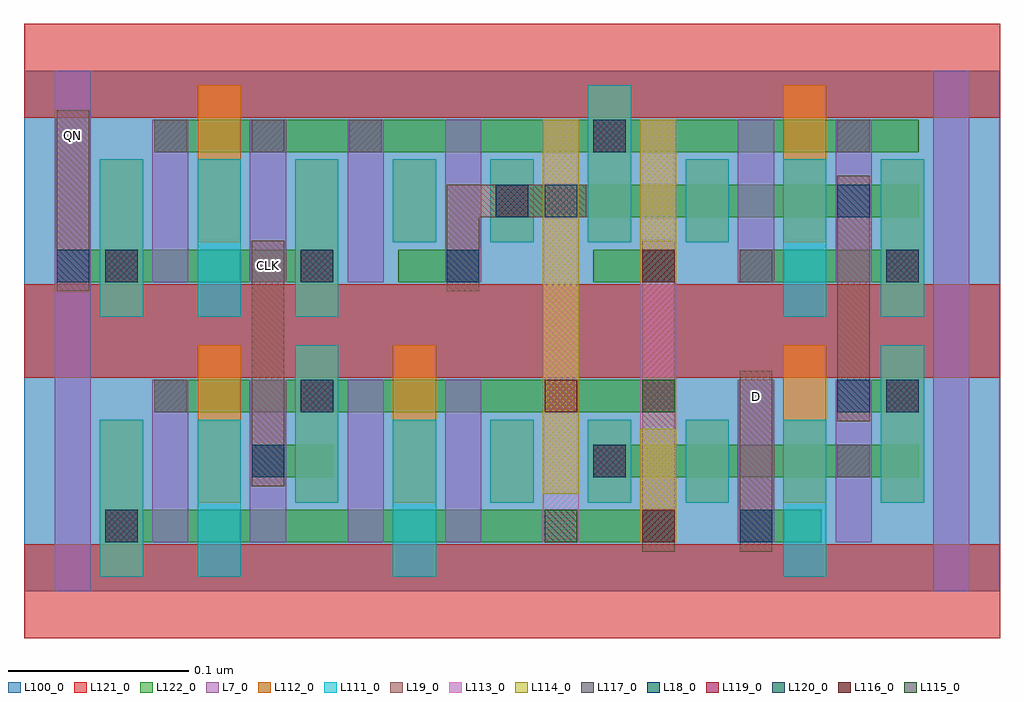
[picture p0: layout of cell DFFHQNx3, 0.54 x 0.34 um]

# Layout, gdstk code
import gdstk
lib = gdstk.Library(unit=1e-6, precision=2.5e-10)
def R(c, l, rs):  # rectangles x0, y0, x1, y1
    for r in rs: c.add(gdstk.rectangle(r[:2], r[2:], *l))
def A(c, l, x, y, w, h, nx, ny, dx, dy):  # array of equal rectangles
    R(c, l, [(x+i*dx, y+j*dy, x+i*dx+w, y+j*dy+h) for i in range(nx) for j in range(ny)])
def P(c, l, *ps):  # polygons
    for p in ps: c.add(gdstk.Polygon(p, *l))
L7_0 = (7, 0)
L18_0 = (18, 0)
L19_0 = (19, 0)
L100_0 = (100, 0)
L111_0 = (111, 0)
L112_0 = (112, 0)
L113_0 = (113, 0)
L114_0 = (114, 0)
L115_0 = (115, 0)
L116_0 = (116, 0)
L117_0 = (117, 0)
L119_0 = (119, 0)
L120_0 = (120, 0)
L121_0 = (121, 0)
L122_0 = (122, 0)

dffhqnx3 = lib.new_cell('DFFHQNx3')
A(dffhqnx3, L7_0, 0.071, 0.027, 0.02, 0.09, 4, 2, 0.054, 0.144)
R(dffhqnx3, L7_0, [(0.017,0,0.037,0.144), (0.503,0,0.523,0.144), (0.395,0.027,0.415,0.117), (0.449,0.027,0.469,0.117), (0.017,0.144,0.037,0.288), (0.503,0.144,0.523,0.288), (0.395,0.171,0.415,0.261), (0.449,0.171,0.469,0.261)])
R(dffhqnx3, L18_0, [(0.342,0.027,0.36,0.045), (0.396,0.027,0.414,0.045), (0.126,0.063,0.144,0.081), (0.45,0.099,0.468,0.117), (0.018,0.171,0.036,0.189), (0.234,0.171,0.252,0.189), (0.342,0.171,0.36,0.189), (0.288,0.207,0.306,0.225), (0.45,0.207,0.468,0.225)])
R(dffhqnx3, L19_0, [(0.342,0.022,0.36,0.194), (0.396,0.022,0.414,0.122), (0.126,0.058,0.144,0.194), (0.45,0.094,0.468,0.23), (0.018,0.166,0.036,0.266)])
P(dffhqnx3, L19_0, [(0.234,0.225),(0.311,0.225),(0.311,0.207),(0.252,0.207),(0.252,0.166),(0.234,0.166)])
R(dffhqnx3, L100_0, [(0,0,0.54,0.288)])
A(dffhqnx3, L111_0, 0.258, 0.049, 0.024, 0.046, 3, 1, 0.054, 0)
A(dffhqnx3, L111_0, 0.042, 0.152, 0.024, 0.087, 3, 1, 0.054, 0)
R(dffhqnx3, L111_0, [(0.042,0.008,0.066,0.095), (0.096,0.008,0.12,0.095), (0.204,0.008,0.228,0.095), (0.42,0.008,0.444,0.095), (0.15,0.049,0.174,0.136), (0.474,0.049,0.498,0.136), (0.42,0.152,0.444,0.239), (0.474,0.152,0.498,0.239), (0.204,0.193,0.228,0.239), (0.258,0.193,0.282,0.239), (0.312,0.193,0.336,0.28), (0.366,0.193,0.39,0.239)])
A(dffhqnx3, L112_0, 0.096, 0.049, 0.024, 0.087, 3, 1, 0.054, 0)
A(dffhqnx3, L112_0, 0.258, 0.049, 0.024, 0.046, 3, 1, 0.054, 0)
R(dffhqnx3, L112_0, [(0.042,0.008,0.066,0.095), (0.42,0.049,0.444,0.136), (0.474,0.049,0.498,0.136), (0.042,0.152,0.066,0.239), (0.15,0.152,0.174,0.239), (0.474,0.152,0.498,0.239), (0.096,0.193,0.12,0.28), (0.204,0.193,0.228,0.239), (0.258,0.193,0.282,0.239), (0.312,0.193,0.336,0.28), (0.366,0.193,0.39,0.239), (0.42,0.193,0.444,0.28)])
R(dffhqnx3, L113_0, [(0.287,0.027,0.307,0.144), (0.341,0.027,0.361,0.144), (0.287,0.144,0.307,0.261), (0.341,0.144,0.361,0.261)])
R(dffhqnx3, L114_0, [(0.341,0.027,0.361,0.09), (0.287,0.054,0.307,0.144), (0.287,0.144,0.307,0.261), (0.341,0.171,0.361,0.261)])
R(dffhqnx3, L115_0, [(0.288,0.027,0.306,0.045), (0.342,0.099,0.36,0.117)])
R(dffhqnx3, L116_0, [(0.342,0.027,0.36,0.045), (0.288,0.099,0.306,0.117), (0.342,0.171,0.36,0.189)])
A(dffhqnx3, L117_0, 0.072, 0.243, 0.018, 0.018, 3, 1, 0.054, 0)
R(dffhqnx3, L117_0, [(0.396,0.027,0.414,0.045), (0.126,0.063,0.144,0.081), (0.45,0.063,0.468,0.081), (0.072,0.099,0.09,0.117), (0.234,0.171,0.252,0.189), (0.396,0.171,0.414,0.189), (0.45,0.243,0.468,0.261)])
R(dffhqnx3, L119_0, [(0.045,0.027,0.063,0.045), (0.315,0.063,0.333,0.081), (0.153,0.099,0.171,0.117), (0.477,0.099,0.495,0.117), (0.045,0.171,0.063,0.189), (0.153,0.171,0.171,0.189), (0.477,0.171,0.495,0.189), (0.261,0.207,0.279,0.225), (0.315,0.243,0.333,0.261)])
R(dffhqnx3, L120_0, [(0.045,0.027,0.063,0.045), (0.315,0.063,0.333,0.081), (0.153,0.099,0.171,0.117), (0.477,0.099,0.495,0.117), (0.045,0.171,0.063,0.189), (0.153,0.171,0.171,0.189), (0.477,0.171,0.495,0.189), (0.261,0.207,0.279,0.225), (0.315,0.243,0.333,0.261)])
A(dffhqnx3, L121_0, 0, -0.026, 0.54, 0.052, 1, 3, 0, 0.144)
R(dffhqnx3, L122_0, [(0.045,0.027,0.36,0.045), (0.396,0.027,0.441,0.045), (0.126,0.063,0.171,0.081), (0.315,0.063,0.495,0.081), (0.072,0.099,0.36,0.117), (0.45,0.099,0.495,0.117), (0.018,0.171,0.171,0.189), (0.207,0.171,0.252,0.189), (0.315,0.171,0.36,0.189), (0.396,0.171,0.495,0.189), (0.261,0.207,0.495,0.225), (0.072,0.243,0.495,0.261)])
dffhqnx3.add(gdstk.Label('QN', (0.027,0.252), layer=19, texttype=251))
dffhqnx3.add(gdstk.Label('D', (0.405,0.108), layer=19, texttype=251))
dffhqnx3.add(gdstk.Label('CLK', (0.135,0.18), layer=19, texttype=251))

lib.write_gds('DFFHQNx3.gds')
